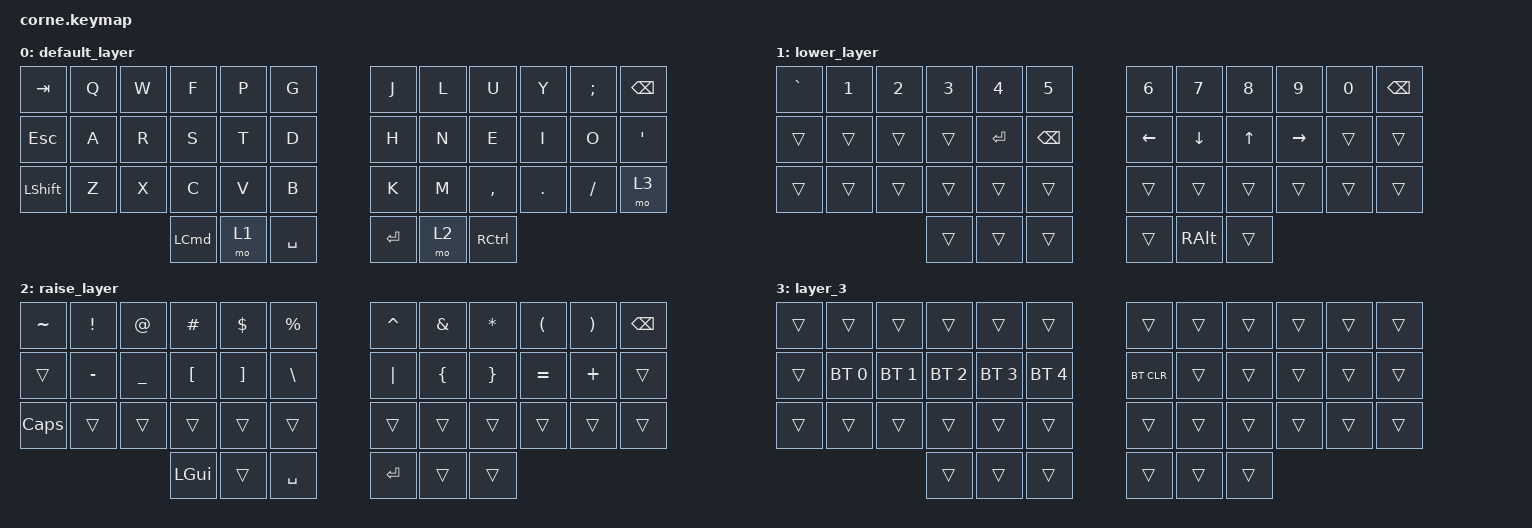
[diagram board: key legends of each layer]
/*
 * Copyright (c) 2020 The ZMK Contributors
 *
 * SPDX-License-Identifier: MIT
 */

#include <behaviors.dtsi>
#include <dt-bindings/zmk/bt.h>
#include <dt-bindings/zmk/keys.h>

/ {
    keymap {
        compatible = "zmk,keymap";

        default_layer {
            // -----------------------------------------------------------------------------------------
            // |  TAB |  Q  |  W  |  E  |  R  |  T  |   |  Y  |  U   |  I  |  O  |  P  | BKSP |
            // | CTRL |  A  |  S  |  D  |  F  |  G  |   |  H  |  J   |  K  |  L  |  ;  |  '   |
            // | SHFT |  Z  |  X  |  C  |  V  |  B  |   |  N  |  M   |  ,  |  .  |  /  | ESC  |
            //                    | GUI | LWR | SPC |   | ENT | RSE  | ALT |

            bindings = <
&kp TAB     &kp Q  &kp W  &kp F             &kp P  &kp G        &kp J    &kp L  &kp U              &kp Y    &kp SEMICOLON  &kp BSPC
&kp ESCAPE  &kp A  &kp R  &kp S             &kp T  &kp D        &kp H    &kp N  &kp E              &kp I    &kp O          &kp SQT
&kp LSHFT   &kp Z  &kp X  &kp C             &kp V  &kp B        &kp K    &kp M  &kp COMMA          &kp DOT  &kp FSLH       &mo 3
                          &kp LEFT_COMMAND  &mo 1  &kp SPACE    &kp RET  &mo 2  &kp RIGHT_CONTROL
            >;
        };

        lower_layer {
            // -----------------------------------------------------------------------------------------
            // |  TAB |  1  |  2  |  3  |  4  |  5  |   |  6  |  7  |  8  |  9  |  0  | BKSP |
            // | BTCLR| BT1 | BT2 | BT3 | BT4 | BT5 |   | LFT | DWN |  UP | RGT |     |      |
            // | SHFT |     |     |     |     |     |   |     |     |     |     |     |      |
            //                    | GUI |     | SPC |   | ENT |     | ALT |

            bindings = <
&kp GRAVE  &kp N1  &kp N2  &kp N3  &kp N4     &kp N5           &kp N6    &kp N7         &kp N8  &kp N9     &kp N0  &kp BSPC
&trans     &trans  &trans  &trans  &kp ENTER  &kp BACKSPACE    &kp LEFT  &kp DOWN       &kp UP  &kp RIGHT  &trans  &trans
&trans     &trans  &trans  &trans  &trans     &trans           &trans    &trans         &trans  &trans     &trans  &trans
                           &trans  &trans     &trans           &trans    &kp RIGHT_ALT  &trans
            >;
        };

        raise_layer {
            // -----------------------------------------------------------------------------------------
            // |  TAB |  !  |  @  |  #  |  $  |  %  |   |  ^  |  &  |  *  |  (  |  )  | BKSP |
            // | CTRL |     |     |     |     |     |   |  -  |  =  |  [  |  ]  |  \  |  `   |
            // | SHFT |     |     |     |     |     |   |  _  |  +  |  {  |  }  | "|" |  ~   |
            //                    | GUI |     | SPC |   | ENT |     | ALT |

            bindings = <
&kp TILDE     &kp EXCL   &kp AT          &kp HASH  &kp DLLR  &kp PRCNT        &kp CARET  &kp AMPS        &kp ASTRK        &kp LPAR   &kp RPAR  &kp BSPC
&trans        &kp MINUS  &kp UNDERSCORE  &kp LBKT  &kp RBKT  &kp BACKSLASH    &kp PIPE   &kp LEFT_BRACE  &kp RIGHT_BRACE  &kp EQUAL  &kp PLUS  &trans
&kp CAPSLOCK  &trans     &trans          &trans    &trans    &trans           &trans     &trans          &trans           &trans     &trans    &trans
                                         &kp LGUI  &trans    &kp SPACE        &kp RET    &trans          &trans
            >;
        };

        layer_3 {
            bindings = <
&trans  &trans        &trans        &trans        &trans        &trans          &trans      &trans  &trans  &trans  &trans  &trans
&trans  &bt BT_SEL 0  &bt BT_SEL 1  &bt BT_SEL 2  &bt BT_SEL 3  &bt BT_SEL 4    &bt BT_CLR  &trans  &trans  &trans  &trans  &trans
&trans  &trans        &trans        &trans        &trans        &trans          &trans      &trans  &trans  &trans  &trans  &trans
                                    &trans        &trans        &trans          &trans      &trans  &trans
            >;
        };
    };
};
